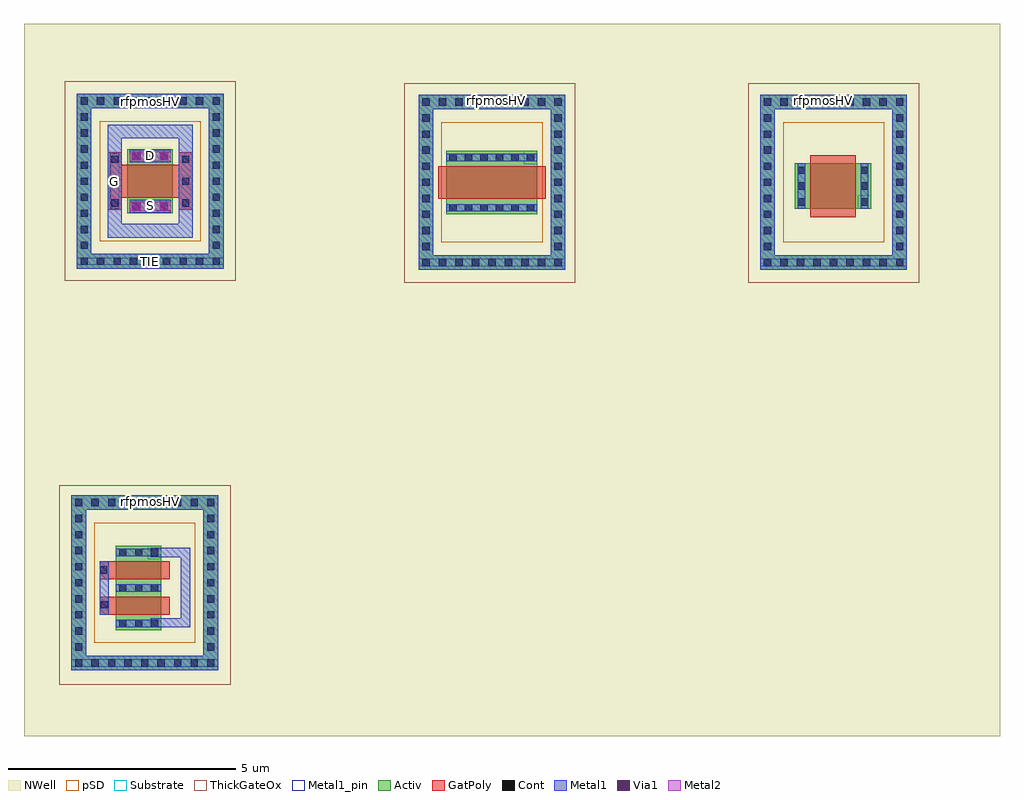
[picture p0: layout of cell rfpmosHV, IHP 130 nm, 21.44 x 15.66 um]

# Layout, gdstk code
import gdstk
lib = gdstk.Library(unit=1e-6, precision=1e-09)
def R(c, l, rs):  # rectangles x0, y0, x1, y1
    for r in rs: c.add(gdstk.rectangle(r[:2], r[2:], *l))
def A(c, l, x, y, w, h, nx, ny, dx, dy):  # array of equal rectangles
    R(c, l, [(x+i*dx, y+j*dy, x+i*dx+w, y+j*dy+h) for i in range(nx) for j in range(ny)])
def P(c, l, *ps):  # polygons
    for p in ps: c.add(gdstk.Polygon(p, *l))
Activ = (1, 0)
GatPoly = (5, 0)
Cont = (6, 0)
Metal1 = (8, 0)
Metal1_pin = (8, 2)
Metal2 = (10, 0)
pSD = (14, 0)
Via1 = (19, 0)
NWell = (31, 0)
Substrate = (40, 0)
ThickGateOx = (44, 0)

rfpmoshv = lib.new_cell('rfpmosHV')
A(rfpmoshv, Activ, 2.176, -7.325, 0.3, 0.3, 1, 3, 0, 0.78)
R(rfpmoshv, Activ, [(1.476,-7.325,2.476,-5.465), (8.732,1.808,10.732,3.208), (10.432,1.808,10.732,2.108), (1.73,1.835,2.73,3.245), (16.386,1.931,16.686,2.231), (16.386,1.931,18.066,2.931), (17.766,1.931,18.066,2.231), (10.432,2.908,10.732,3.208)])
P(rfpmoshv, Activ, [(8.127,0.596),(8.127,4.436),(11.027,4.436),(11.027,4.116),(8.447,4.116),(8.447,0.916),(11.027,0.916),(11.027,4.436),(11.347,4.436),(11.347,0.596)],
  [(15.63,0.596),(15.63,4.436),(18.53,4.436),(18.53,4.116),(15.95,4.116),(15.95,0.916),(18.53,0.916),(18.53,4.436),(18.85,4.436),(18.85,0.596)],
  [(0.5,-8.2),(0.5,-4.36),(3.4,-4.36),(3.4,-4.68),(0.82,-4.68),(0.82,-7.88),(3.4,-7.88),(3.4,-4.36),(3.72,-4.36),(3.72,-8.2)],
  [(0.62,0.62),(0.62,4.46),(3.52,4.46),(3.52,4.14),(0.94,4.14),(0.94,0.94),(3.52,0.94),(3.52,4.46),(3.84,4.46),(3.84,0.62)])
R(rfpmoshv, GatPoly, [(1.122,-6.985,2.656,-6.585), (1.296,-6.985,2.656,-6.585), (1.296,-6.985,2.656,-6.585), (1.122,-6.205,2.656,-5.805), (16.726,1.751,17.726,3.111), (16.726,1.751,17.726,3.111), (16.726,1.751,17.726,3.111), (8.552,2.148,10.912,2.868), (8.552,2.148,10.912,2.868), (8.552,2.148,10.912,2.868)])
P(rfpmoshv, GatPoly, [(1.3,1.91),(1.3,3.17),(1.6,3.17),(1.6,2.9),(2.86,2.9),(2.86,3.17),(3.16,3.17),(3.16,1.91),(2.86,1.91),(2.86,2.18),(1.6,2.18),(1.6,1.91)])
A(rfpmoshv, Cont, 0.58, -8.12, 0.16, 0.16, 1, 3, 0, 0.35)
A(rfpmoshv, Cont, 3.48, -8.12, 0.16, 0.16, 1, 3, 0, 0.35)
A(rfpmoshv, Cont, 1.546, -7.255, 0.16, 0.16, 3, 3, 0.35, 0.78)
A(rfpmoshv, Cont, 8.207, 0.676, 0.16, 0.16, 1, 3, 0, 0.35)
A(rfpmoshv, Cont, 11.107, 0.676, 0.16, 0.16, 1, 3, 0, 0.35)
A(rfpmoshv, Cont, 15.71, 0.676, 0.16, 0.16, 1, 3, 0, 0.35)
A(rfpmoshv, Cont, 18.61, 0.676, 0.16, 0.16, 1, 3, 0, 0.35)
A(rfpmoshv, Cont, 0.7, 0.7, 0.16, 0.16, 1, 3, 0, 0.35)
A(rfpmoshv, Cont, 3.6, 0.7, 0.16, 0.16, 1, 3, 0, 0.35)
A(rfpmoshv, Cont, 8.802, 1.878, 0.16, 0.16, 6, 2, 0.34, 1.1)
A(rfpmoshv, Cont, 1.37, 1.98, 0.16, 0.16, 1, 3, 0, 0.48)
A(rfpmoshv, Cont, 2.93, 1.98, 0.16, 0.16, 1, 3, 0, 0.48)
A(rfpmoshv, Cont, 16.456, 2.001, 0.16, 0.16, 1, 3, 0, 0.35)
A(rfpmoshv, Cont, 17.836, 2.001, 0.16, 0.16, 1, 3, 0, 0.35)
R(rfpmoshv, Cont, [(0.94,-8.12,1.1,-7.96), (1.305,-8.12,1.465,-7.96), (1.665,-8.12,1.825,-7.96), (2.03,-8.12,2.19,-7.96), (2.39,-8.12,2.55,-7.96), (2.755,-8.12,2.915,-7.96), (3.115,-8.12,3.275,-7.96), (0.58,-7.065,0.74,-6.905), (3.48,-7.065,3.64,-6.905), (1.145,-6.845,1.305,-6.685), (0.58,-6.715,0.74,-6.555), (3.48,-6.715,3.64,-6.555), (0.58,-6.36,0.74,-6.2), (3.48,-6.36,3.64,-6.2), (1.13,-6.079,1.29,-5.919), (0.58,-6.01,0.74,-5.85), (3.48,-6.01,3.64,-5.85), (0.58,-5.655,0.74,-5.495), (3.48,-5.655,3.64,-5.495), (0.58,-5.305,0.74,-5.145), (3.48,-5.305,3.64,-5.145), (0.58,-4.95,0.74,-4.79), (3.48,-4.95,3.64,-4.79), (0.58,-4.6,0.74,-4.44), (0.94,-4.6,1.1,-4.44), (1.305,-4.6,1.465,-4.44), (1.665,-4.6,1.825,-4.44), (2.03,-4.6,2.19,-4.44), (2.39,-4.6,2.55,-4.44), (2.755,-4.6,2.915,-4.44), (3.115,-4.6,3.275,-4.44), (3.48,-4.6,3.64,-4.44), (8.567,0.676,8.727,0.836), (8.932,0.676,9.092,0.836), (9.292,0.676,9.452,0.836), (9.657,0.676,9.817,0.836), (10.017,0.676,10.177,0.836), (10.382,0.676,10.542,0.836), (10.742,0.676,10.902,0.836), (16.07,0.676,16.23,0.836), (16.435,0.676,16.595,0.836), (16.795,0.676,16.955,0.836), (17.16,0.676,17.32,0.836), (17.52,0.676,17.68,0.836), (17.885,0.676,18.045,0.836), (18.245,0.676,18.405,0.836), (1.06,0.7,1.22,0.86), (1.425,0.7,1.585,0.86), (1.785,0.7,1.945,0.86), (2.15,0.7,2.31,0.86), (2.51,0.7,2.67,0.86), (2.875,0.7,3.035,0.86), (3.235,0.7,3.395,0.86), (8.207,1.731,8.367,1.891), (11.107,1.731,11.267,1.891), (15.71,1.731,15.87,1.891), (18.61,1.731,18.77,1.891), (0.7,1.755,0.86,1.915), (3.6,1.755,3.76,1.915), (1.83,1.91,1.99,2.07), (2.47,1.91,2.63,2.07), (8.207,2.081,8.367,2.241), (11.107,2.081,11.267,2.241), (15.71,2.081,15.87,2.241), (18.61,2.081,18.77,2.241), (0.7,2.105,0.86,2.265), (3.6,2.105,3.76,2.265), (8.207,2.436,8.367,2.596), (11.107,2.436,11.267,2.596), (15.71,2.436,15.87,2.596), (18.61,2.436,18.77,2.596), (0.7,2.46,0.86,2.62), (3.6,2.46,3.76,2.62), (8.207,2.786,8.367,2.946), (11.107,2.786,11.267,2.946), (15.71,2.786,15.87,2.946), (18.61,2.786,18.77,2.946), (0.7,2.81,0.86,2.97), (3.6,2.81,3.76,2.97), (1.83,3.01,1.99,3.17), (2.47,3.01,2.63,3.17), (8.207,3.141,8.367,3.301), (11.107,3.141,11.267,3.301), (15.71,3.141,15.87,3.301), (18.61,3.141,18.77,3.301), (0.7,3.165,0.86,3.325), (3.6,3.165,3.76,3.325), (8.207,3.491,8.367,3.651), (11.107,3.491,11.267,3.651), (15.71,3.491,15.87,3.651), (18.61,3.491,18.77,3.651), (0.7,3.515,0.86,3.675), (3.6,3.515,3.76,3.675), (8.207,3.846,8.367,4.006), (11.107,3.846,11.267,4.006), (15.71,3.846,15.87,4.006), (18.61,3.846,18.77,4.006), (0.7,3.87,0.86,4.03), (3.6,3.87,3.76,4.03), (8.207,4.196,8.367,4.356), (8.567,4.196,8.727,4.356), (8.932,4.196,9.092,4.356), (9.292,4.196,9.452,4.356), (9.657,4.196,9.817,4.356), (10.017,4.196,10.177,4.356), (10.382,4.196,10.542,4.356), (10.742,4.196,10.902,4.356), (11.107,4.196,11.267,4.356), (15.71,4.196,15.87,4.356), (16.07,4.196,16.23,4.356), (16.435,4.196,16.595,4.356), (16.795,4.196,16.955,4.356), (17.16,4.196,17.32,4.356), (17.52,4.196,17.68,4.356), (17.885,4.196,18.045,4.356), (18.245,4.196,18.405,4.356), (18.61,4.196,18.77,4.356), (0.7,4.22,0.86,4.38), (1.06,4.22,1.22,4.38), (1.425,4.22,1.585,4.38), (1.785,4.22,1.945,4.38), (2.15,4.22,2.31,4.38), (2.51,4.22,2.67,4.38), (2.875,4.22,3.035,4.38), (3.235,4.22,3.395,4.38), (3.6,4.22,3.76,4.38)])
R(rfpmoshv, Metal1, [(1.476,-7.255,2.476,-7.095), (1.476,-7.255,2.476,-7.095), (1.476,-7.255,2.476,-7.095), (1.476,-6.475,2.476,-6.315), (1.476,-6.475,2.476,-6.315), (1.476,-6.475,2.476,-6.315), (1.476,-5.695,2.476,-5.535), (1.78,1.85,2.68,2.13), (8.732,1.878,10.732,2.038), (8.732,1.878,10.732,2.038), (8.732,1.878,10.732,2.038), (1.35,1.93,1.55,3.15), (2.91,1.93,3.11,3.15), (16.456,1.931,16.616,2.931), (16.456,1.931,16.616,2.931), (16.456,1.931,16.616,2.931), (17.836,1.931,17.996,2.931), (17.836,1.931,17.996,2.931), (17.836,1.931,17.996,2.931), (1.78,2.95,2.68,3.23), (8.732,2.978,10.732,3.138), (8.732,2.978,10.732,3.138), (8.732,2.978,10.732,3.138)])
P(rfpmoshv, Metal1, [(8.127,0.596),(8.127,4.436),(11.027,4.436),(11.027,4.116),(8.447,4.116),(8.447,0.916),(11.027,0.916),(11.027,4.436),(11.347,4.436),(11.347,0.596)],
  [(15.63,0.596),(15.63,4.436),(18.53,4.436),(18.53,4.116),(15.95,4.116),(15.95,0.916),(18.53,0.916),(18.53,4.436),(18.85,4.436),(18.85,0.596)],
  [(0.5,-8.2),(0.5,-4.36),(3.4,-4.36),(3.4,-4.68),(0.82,-4.68),(0.82,-7.88),(3.4,-7.88),(3.4,-4.36),(3.72,-4.36),(3.72,-8.2)],
  [(0.62,0.62),(0.62,4.46),(3.52,4.46),(3.52,4.14),(0.94,4.14),(0.94,0.94),(3.52,0.94),(3.52,4.46),(3.84,4.46),(3.84,0.62)],
  [(1.3,1.3),(1.3,3.78),(2.86,3.78),(2.86,3.48),(1.6,3.48),(1.6,1.6),(2.86,1.6),(2.86,3.78),(3.16,3.78),(3.16,1.3)])
R(rfpmoshv, Metal1_pin, [(0.5,-8.12,3.72,-7.96), (8.127,0.676,11.347,0.836), (15.63,0.676,18.85,0.836), (0.62,0.7,3.84,0.86), (1.78,1.85,2.68,2.13), (1.35,1.93,1.55,3.15), (1.78,2.95,2.68,3.23)])
R(rfpmoshv, Metal2, [(1.78,1.89,2.68,2.09), (1.78,2.99,2.68,3.19)])
R(rfpmoshv, pSD, [(1,-7.6,3.22,-4.96), (8.627,1.196,10.847,3.836), (16.13,1.196,18.35,3.836), (1.12,1.22,3.34,3.86)])
R(rfpmoshv, Via1, [(1.83,1.895,2.02,2.085), (2.44,1.895,2.63,2.085), (1.83,2.995,2.02,3.185), (2.44,2.995,2.63,3.185)])
R(rfpmoshv, NWell, [(-0.542,-9.657,20.894,6.002), (-0.114,-8.871,4.346,-3.791), (7.459,-0.045,11.919,5.035), (15.01,-0.045,19.47,5.035), (0,0,4.46,5.08)])
R(rfpmoshv, Substrate, [(2.176,-5.765,2.476,-5.465), (2.176,-5.765,2.476,-5.465), (17.766,1.931,18.066,2.231), (17.766,1.931,18.066,2.231), (10.432,2.908,10.732,3.208), (10.432,2.908,10.732,3.208)])
R(rfpmoshv, ThickGateOx, [(0.236,-8.521,3.996,-4.141), (7.809,0.305,11.569,4.685), (15.36,0.305,19.12,4.685), (0.35,0.35,4.11,4.73)])
rfpmoshv.add(gdstk.FlexPath([(1.222,-5.805),(1.222,-6.985)], 0.2, ends="flush", simple_path=True, layer=8, datatype=0))  # Metal1
rfpmoshv.add(gdstk.FlexPath([(2.238,-5.617),(3.005,-5.617),(3.005,-7.16),(2.238,-7.16)], 0.2, ends="flush", simple_path=True, layer=8, datatype=0))  # Metal1
rfpmoshv.add(gdstk.Label('rfpmosHV', (2.23,-4.504), layer=63, texttype=0))
rfpmoshv.add(gdstk.Label('rfpmosHV', (9.844,4.305), layer=63, texttype=0))
rfpmoshv.add(gdstk.Label('rfpmosHV', (17.009,4.305), layer=63, texttype=0))
rfpmoshv.add(gdstk.Label('TIE', (2.23,0.78), layer=63, texttype=0))
rfpmoshv.add(gdstk.Label('rfpmosHV', (2.23,4.3), layer=63, texttype=0))
rfpmoshv.add(gdstk.Label('G', (1.45,2.54), layer=63, texttype=0))
rfpmoshv.add(gdstk.Label('D', (2.23,3.108), layer=63, texttype=0))
rfpmoshv.add(gdstk.Label('S', (2.23,2.008), layer=63, texttype=0))

lib.write_gds('rfpmosHV.gds')
